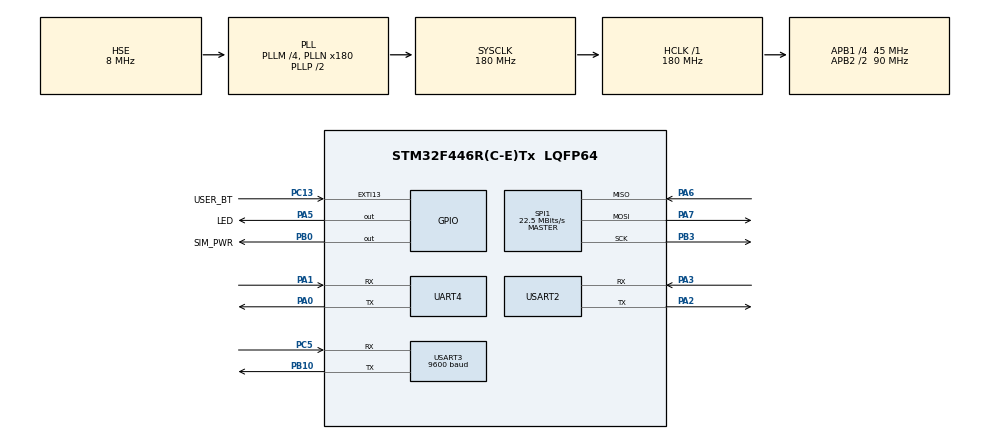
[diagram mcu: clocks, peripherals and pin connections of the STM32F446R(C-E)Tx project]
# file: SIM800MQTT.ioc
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Dma.Request0=UART4_RX
Dma.UART4_RX.0.Direction=DMA_PERIPH_TO_MEMORY
Dma.UART4_RX.0.FIFOMode=DMA_FIFOMODE_DISABLE
Dma.UART4_RX.0.Instance=DMA1_Stream2
Dma.UART4_RX.0.MemDataAlignment=DMA_MDATAALIGN_BYTE
Dma.UART4_RX.0.MemInc=DMA_MINC_ENABLE
Dma.UART4_RX.0.Mode=DMA_NORMAL
Dma.UART4_RX.0.PeriphDataAlignment=DMA_PDATAALIGN_BYTE
Dma.UART4_RX.0.PeriphInc=DMA_PINC_DISABLE
Dma.UART4_RX.0.Priority=DMA_PRIORITY_LOW
Mcu.Family=STM32F4
Mcu.Name=STM32F446R(C-E)Tx
Mcu.Package=LQFP64
NVIC.DMA1_Stream2_IRQn=true\:0\:0\:false\:false\:true\:false\:true\:true
NVIC.EXTI15_10_IRQn=true\:5\:0\:true\:false\:true\:true\:true\:true
NVIC.PriorityGroup=NVIC_PRIORITYGROUP_4
NVIC.RTC_Alarm_IRQn=true\:0\:0\:false\:false\:true\:true\:true\:true
NVIC.TIM6_DAC_IRQn=true\:15\:0\:false\:false\:true\:false\:true\:true
NVIC.TimeBase=TIM6_DAC_IRQn
NVIC.TimeBaseIP=TIM6
NVIC.UART4_IRQn=true\:6\:0\:true\:false\:true\:true\:true\:true
NVIC.USART3_IRQn=true\:6\:0\:true\:false\:true\:true\:true\:true
PA0-WKUP.Mode=Asynchronous
PA0-WKUP.Signal=UART4_TX
PA1.Mode=Asynchronous
PA1.Signal=UART4_RX
PA2.Mode=Asynchronous
PA2.Signal=USART2_TX
PA3.Mode=Asynchronous
PA3.Signal=USART2_RX
PA5.GPIO_Label=LED
PA5.Signal=GPIO_Output
PA6.Mode=Full_Duplex_Master
PA6.Signal=SPI1_MISO
PA7.Mode=Full_Duplex_Master
PA7.Signal=SPI1_MOSI
PB0.GPIO_Label=SIM_PWR
PB0.Signal=GPIO_Output
PB10.Mode=Asynchronous
PB10.Signal=USART3_TX
PB3.Mode=Full_Duplex_Master
PB3.Signal=SPI1_SCK
PC13.GPIO_Label=USER_BT
PC13.GPIO_PuPd=GPIO_PULLUP
PC13.Signal=GPXTI13
PC14-OSC32_IN.Mode=LSE-External-Oscillator
PC14-OSC32_IN.Signal=RCC_OSC32_IN
PC15-OSC32_OUT.Mode=LSE-External-Oscillator
PC15-OSC32_OUT.Signal=RCC_OSC32_OUT
PC5.Mode=Asynchronous
PC5.Signal=USART3_RX
PH0-OSC_IN.Mode=HSE-External-Oscillator
PH0-OSC_IN.Signal=RCC_OSC_IN
PH1-OSC_OUT.Mode=HSE-External-Oscillator
PH1-OSC_OUT.Signal=RCC_OSC_OUT
ProjectManager.HeapSize=0x200
ProjectManager.StackSize=0x400
ProjectManager.TargetToolchain=STM32CubeIDE
RCC.AHBFreq_Value=180000000
RCC.APB1CLKDivider=RCC_HCLK_DIV4
RCC.APB1Freq_Value=45000000
RCC.APB1TimFreq_Value=90000000
RCC.APB2CLKDivider=RCC_HCLK_DIV2
RCC.APB2Freq_Value=90000000
RCC.APB2TimFreq_Value=180000000
RCC.CortexFreq_Value=180000000
RCC.HCLKFreq_Value=180000000
RCC.HSE_VALUE=8000000
RCC.PLLM=4
RCC.PLLN=180
RCC.PLLSourceVirtual=RCC_PLLSOURCE_HSE
RCC.RCC_RTC_Clock_SourceVirtual=RCC_RTCCLKSOURCE_LSE
RCC.SYSCLKFreq_VALUE=180000000
RCC.SYSCLKSource=RCC_SYSCLKSOURCE_PLLCLK
RCC.USBFreq_Value=180000000
RCC.VCOOutputFreq_Value=360000000
RTC.Alarm=RTC_ALARM_A
RTC.Format=RTC_FORMAT_BIN
SPI1.BaudRatePrescaler=SPI_BAUDRATEPRESCALER_4
SPI1.CalculateBaudRate=22.5 MBits/s
SPI1.Direction=SPI_DIRECTION_2LINES
SPI1.Mode=SPI_MODE_MASTER
SPI1.VirtualType=VM_MASTER
UART4.VirtualMode=Asynchronous
USART2.VirtualMode=VM_ASYNC
USART3.BaudRate=9600
USART3.VirtualMode=VM_ASYNC
VP_RTC_VS_RTC_Activate.Mode=RTC_Enabled
VP_RTC_VS_RTC_Alarm_A_Intern.Mode=Alarm A
VP_RTC_VS_RTC_Calendar.Mode=RTC_Calendar
VP_SYS_VS_tim6.Mode=TIM6
board=custom

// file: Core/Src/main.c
/* USER CODE BEGIN Header */
/**
  ******************************************************************************
  * @file           : main.c
  * @brief          : Main program body
  ******************************************************************************
  * @attention
  *
  * Copyright (c) 2025 STMicroelectronics.
  * All rights reserved.
  *
  * This software is licensed under terms that can be found in the LICENSE file
  * in the root directory of this software component.
  * If no LICENSE file comes with this software, it is provided AS-IS.
  *
  ******************************************************************************
  */
/* USER CODE END Header */
#include "main.h"
#include "dma.h"
#include "rtc.h"
#include "spi.h"
#include "usart.h"
#include "gpio.h"

/* USER CODE BEGIN Includes */
#include <stdio.h>
#include <stdlib.h>
#include <string.h>
#include "freeRTOS.h"
#include "task.h"
#include "queue.h"
#include "semphr.h"
#include "MQTTSim800.h"

/* USER CODE END Includes */

/* USER CODE BEGIN PD */
#define KEEP_ALIVE_INTERVAL 60
/* USER CODE END PD */

/* USER CODE BEGIN PV */
TaskHandle_t mqttTaskHandle;
TaskHandle_t gpioTaskHandle;
TaskHandle_t uartTaskHandle;
TaskHandle_t rtcTaskHandle;

SemaphoreHandle_t xButtonSemaphore;

QueueHandle_t mqttQueue;
QueueHandle_t GSM_rxCallbackQueue;
QueueHandle_t ESP_uartQueue;

char timeData[15];
char dateData[15];

volatile uint8_t buttonState = 0;
SIM800_t SIM800;
uint32_t lastKeepAliveTime = 0;
extern uint8_t mqtt_receive;
extern uint8_t rx_data;

uint8_t uartRxBuffer[1];

/* USER CODE END PV */

void SystemClock_Config(void);
/* USER CODE BEGIN PFP */
void GSM_MQTT_Task(void *pvParameters);
void INT_GPIO_Task(void *pvParameters);
void ESP_UART_Task(void *pvParameters);
void RTC_Task(void *pvParameters);

uint32_t millis();
void set_time (uint8_t hr, uint8_t min, uint8_t sec);
void set_date (uint8_t year, uint8_t month, uint8_t date, uint8_t day);
void set_alarm (uint8_t hr, uint8_t min, uint8_t sec, uint8_t date);
void get_time_date(char *time, char *date);

/* USER CODE END PFP */

/* USER CODE BEGIN 0 */
void GSM_init(void)                                 //GSM Init
{
	SIM800.sim.apn = "internet";
	SIM800.sim.apn_user = "";
	SIM800.sim.apn_pass = "";
	SIM800.mqttServer.host = "";
	SIM800.mqttServer.port = 1883;
	SIM800.mqttClient.username = "";
	SIM800.mqttClient.pass = "";
	SIM800.mqttClient.clientID = "simTest";
	SIM800.mqttClient.keepAliveInterval = 60;
}

void FreeRTOS_Init(void)                            //FreeRTOS initialization function
{
    mqttQueue = xQueueCreate(5, sizeof(uint8_t));                 // Queue init
    ESP_uartQueue = xQueueCreate(10, sizeof(uartRxBuffer));

    xButtonSemaphore = xSemaphoreCreateBinary();          //binary semaphore init

    xTaskCreate(ESP_UART_Task, "ESP_UART_Task", 200, NULL, 3, &uartTaskHandle);
    xTaskCreate(RTC_Task, "RTC_Task", 200, NULL, 1, &rtcTaskHandle);
    xTaskCreate(GSM_MQTT_Task, "GSM_MQTT_Task", 512, NULL, 2, &mqttTaskHandle);
    xTaskCreate(INT_GPIO_Task, "INT_GPIO_Task", 256, NULL, 4, &gpioTaskHandle);
    vTaskStartScheduler();
}

void HAL_UART_RxCpltCallback(UART_HandleTypeDef * huart)          // UART interrupt call back
{
	if (huart->Instance == UART4)
	{
		BaseType_t xHigherPriorityTaskWoken = pdFALSE;
		xQueueSendFromISR(ESP_uartQueue, uartRxBuffer, &xHigherPriorityTaskWoken);
		memset(uartRxBuffer, 0, sizeof(uartRxBuffer));
		HAL_UART_Receive_IT(&huart4, uartRxBuffer, sizeof(uartRxBuffer));
		portYIELD_FROM_ISR(xHigherPriorityTaskWoken);
	}

    if (huart == UART_SIM800)
    {
    	BaseType_t xHigherPriorityTaskWoken = pdFALSE;
        Sim800_RxCallBack();
        portYIELD_FROM_ISR(xHigherPriorityTaskWoken);
    }
}

void ESP_UART_Task(void *pvParameters)                             //UART task handler
{
    while (1) {
        if (xQueueReceive(ESP_uartQueue, uartRxBuffer, portMAX_DELAY) == pdTRUE) {
            printf("UART Data Received: %s\n", uartRxBuffer);
            if(uartRxBuffer == 1)
            {
            	printf("LED Toggled\n\r");
            	HAL_GPIO_TogglePin(LED_GPIO_Port, LED_Pin);
            }
        }
    }
}

void INT_GPIO_Task(void *pvParameters)                             //GPIO Task Handler
{
    while (1)
    {
    	if(xSemaphoreTake(xButtonSemaphore, portMAX_DELAY) == pdTRUE)
    	{
    		HAL_GPIO_TogglePin(LED_GPIO_Port, LED_Pin);
    		buttonState ^= 1;
			printf("button state toggled: %d\n\r", buttonState);
			xQueueSend(mqttQueue, (void *)&buttonState, portMAX_DELAY);
    	}
    }
}

void GSM_MQTT_Task(void *pvParameters)                             //GSM & MQTT Task Handler
{
   uint8_t receivedState;
   char mqttPayload[32];
   while(1)
   {
	   if (SIM800.mqttServer.connect == 0)
	   {
		   MQTT_Init();
		   lastKeepAliveTime = millis();
	   }
	  if (SIM800.mqttServer.connect == 1)
	   {
		  MQTT_Sub("STM32/subscribe");
		  if(SIM800.mqttReceive.newEvent)
		  {
			  unsigned char *topic = SIM800.mqttReceive.topic;
			  unsigned char *payload = SIM800.mqttReceive.payload;
			  SIM800.mqttReceive.newEvent = 0;
			  printf("Topic: %s\n\r", topic);
			  printf("Payload: %s\n\r",payload);
			  if(strcmp((char *)payload, "LED") == 0)
				{
					buttonState ^= 1;
					char mqttPayload[32];
					HAL_GPIO_TogglePin(LED_GPIO_Port, LED_Pin);
					sprintf(mqttPayload, "{\"device1\":%d}", buttonState);
					MQTT_Pub("STM32/publish", mqttPayload);
					printf("MQTT Published: %s\n\r", mqttPayload);

				}
		  }

		  if(xQueueReceive(mqttQueue, &receivedState, pdMS_TO_TICKS(500)) == pdTRUE)
			{
			   sprintf(mqttPayload, "{\"device1\":%d}", receivedState);
			   MQTT_Pub("STM32/publish", mqttPayload);
			   printf("MQTT Published: %s\n\r", mqttPayload);
			   lastKeepAliveTime = millis();

			}
			if ((millis() - lastKeepAliveTime) >= (KEEP_ALIVE_INTERVAL * 500))
			{
			   uint8_t pingreq_packet[2] = {0xC0, 0x00};
			   HAL_UART_Transmit(UART_SIM800, pingreq_packet, 2, 100);
			   printf("Sending MQTT PINGREQ\n\r");
			   lastKeepAliveTime = millis();
			}
	   }
    vTaskDelay(100);
   }
}

void RTC_Task(void *pvParameters)                          // RTC Task Handler
{
	while(1)
	{
		get_time_date(timeData, dateData);
		printf("%s\n\r", timeData);
		printf("%s\n\r", dateData);
		vTaskDelay(1000);
	}
}

void HAL_GPIO_EXTI_Callback(uint16_t GPIO_Pin)                // External interrupt call back
{
	BaseType_t xHigherPriorityTaskWoken = pdFALSE;
    if (GPIO_Pin == USER_BT_Pin)
    {
        xSemaphoreGiveFromISR(xButtonSemaphore, xHigherPriorityTaskWoken);
        portYIELD_FROM_ISR(xHigherPriorityTaskWoken);
    }
}

#ifdef __GNUC__                                                //printf
#define UART_printf   int __io_putchar(int ch)
UART_printf
{
	HAL_UART_Transmit(&huart2, (uint8_t*)&ch, 1, HAL_MAX_DELAY);
	return ch;
}
#endif

uint32_t millis() {
    return HAL_GetTick();
}
/* USER CODE END 0 */

int main(void)
{

  /* MCU Configuration--------------------------------------------------------*/

  /* Reset of all peripherals, Initializes the Flash interface and the Systick. */
  HAL_Init();

  /* Configure the system clock */
  SystemClock_Config();

  /* Initialize all configured peripherals */
  MX_GPIO_Init();
  MX_DMA_Init();
  MX_USART2_UART_Init();
  MX_USART3_UART_Init();
  MX_SPI1_Init();
  MX_UART4_Init();
  MX_RTC_Init();
  /* USER CODE BEGIN 2 */
  if (HAL_RTCEx_BKUPRead(&hrtc, RTC_BKP_DR1) != 0x2345)
  {
	set_time(15, 20, 30);
	set_date(25, 02, 22, 7);
  }
  set_time(15, 20, 30);
  set_date(25, 02, 22, 7);
  HAL_UART_Receive_IT(&huart4, uartRxBuffer, sizeof(uartRxBuffer));
  HAL_UART_Receive_IT(UART_SIM800, &rx_data, 1);
  printf("system Init\n\r");
  GSM_init();
  FreeRTOS_Init();
//  uint8_t sub = 0;
//  uint8_t pub_uint8 = 1;
  /* USER CODE END 2 */

  /* Infinite loop */
  while (1)
  {

  }
}

void SystemClock_Config(void)
{
  RCC_OscInitTypeDef RCC_OscInitStruct = {0};
  RCC_ClkInitTypeDef RCC_ClkInitStruct = {0};

  /** Configure the main internal regulator output voltage
  */
  __HAL_RCC_PWR_CLK_ENABLE();
  __HAL_PWR_VOLTAGESCALING_CONFIG(PWR_REGULATOR_VOLTAGE_SCALE1);

  /** Initializes the RCC Oscillators according to the specified parameters
  * in the RCC_OscInitTypeDef structure.
  */
  RCC_OscInitStruct.OscillatorType = RCC_OSCILLATORTYPE_HSE|RCC_OSCILLATORTYPE_LSE;
  RCC_OscInitStruct.HSEState = RCC_HSE_ON;
  RCC_OscInitStruct.LSEState = RCC_LSE_ON;
  RCC_OscInitStruct.PLL.PLLState = RCC_PLL_ON;
  RCC_OscInitStruct.PLL.PLLSource = RCC_PLLSOURCE_HSE;
  RCC_OscInitStruct.PLL.PLLM = 4;
  RCC_OscInitStruct.PLL.PLLN = 180;
  RCC_OscInitStruct.PLL.PLLP = RCC_PLLP_DIV2;
  RCC_OscInitStruct.PLL.PLLQ = 2;
  RCC_OscInitStruct.PLL.PLLR = 2;
  if (HAL_RCC_OscConfig(&RCC_OscInitStruct) != HAL_OK)
  {
    Error_Handler();
  }

  /** Activate the Over-Drive mode
  */
  if (HAL_PWREx_EnableOverDrive() != HAL_OK)
  {
    Error_Handler();
  }

  /** Initializes the CPU, AHB and APB buses clocks
  */
  RCC_ClkInitStruct.ClockType = RCC_CLOCKTYPE_HCLK|RCC_CLOCKTYPE_SYSCLK
                              |RCC_CLOCKTYPE_PCLK1|RCC_CLOCKTYPE_PCLK2;
  RCC_ClkInitStruct.SYSCLKSource = RCC_SYSCLKSOURCE_PLLCLK;
  RCC_ClkInitStruct.AHBCLKDivider = RCC_SYSCLK_DIV1;
  RCC_ClkInitStruct.APB1CLKDivider = RCC_HCLK_DIV4;
  RCC_ClkInitStruct.APB2CLKDivider = RCC_HCLK_DIV2;

  if (HAL_RCC_ClockConfig(&RCC_ClkInitStruct, FLASH_LATENCY_5) != HAL_OK)
  {
    Error_Handler();
  }
}

/* USER CODE BEGIN 4 */
void set_time (uint8_t hr, uint8_t min, uint8_t sec)
{
	RTC_TimeTypeDef sTime = {0};

	sTime.Hours = hr;
	sTime.Minutes = min;
	sTime.Seconds = sec;
	sTime.DayLightSaving = RTC_DAYLIGHTSAVING_NONE;
	sTime.StoreOperation = RTC_STOREOPERATION_RESET;
	if (HAL_RTC_SetTime(&hrtc, &sTime, RTC_FORMAT_BIN) != HAL_OK)
	{
		Error_Handler();
	}
}

void set_date (uint8_t year, uint8_t month, uint8_t date, uint8_t day)  // monday = 1
{

	RTC_DateTypeDef sDate = {0};
	sDate.WeekDay = day;
	sDate.Month = month;
	sDate.Date = date;
	sDate.Year = year;
	if (HAL_RTC_SetDate(&hrtc, &sDate, RTC_FORMAT_BIN) != HAL_OK)
	{
		Error_Handler();
	}

	HAL_RTCEx_BKUPWrite(&hrtc, RTC_BKP_DR1, 0x2345);  // backup register
}

void set_alarm (uint8_t hr, uint8_t min, uint8_t sec, uint8_t date)
{
	RTC_AlarmTypeDef sAlarm = {0};
	sAlarm.AlarmTime.Hours = hr;
	sAlarm.AlarmTime.Minutes = min;
	sAlarm.AlarmTime.Seconds = sec;
	sAlarm.AlarmTime.SubSeconds = 0;
	sAlarm.AlarmTime.DayLightSaving = RTC_DAYLIGHTSAVING_NONE;
	sAlarm.AlarmTime.StoreOperation = RTC_STOREOPERATION_RESET;
	sAlarm.AlarmMask = RTC_ALARMMASK_NONE;
	sAlarm.AlarmSubSecondMask = RTC_ALARMSUBSECONDMASK_ALL;
	sAlarm.AlarmDateWeekDaySel = RTC_ALARMDATEWEEKDAYSEL_DATE;
	sAlarm.AlarmDateWeekDay = date;
	sAlarm.Alarm = RTC_ALARM_A;
	if (HAL_RTC_SetAlarm_IT(&hrtc, &sAlarm, RTC_FORMAT_BIN) != HAL_OK)
	{
		Error_Handler();
	}
}

void get_time_date(char *time, char *date)
{
  RTC_DateTypeDef gDate;
  RTC_TimeTypeDef gTime;
  HAL_RTC_GetTime(&hrtc, &gTime, RTC_FORMAT_BIN);
  HAL_RTC_GetDate(&hrtc, &gDate, RTC_FORMAT_BIN);
  sprintf((char*)time,"%02d:%02d:%02d",gTime.Hours, gTime.Minutes, gTime.Seconds);
  sprintf((char*)date,"%02d-%02d-%2d",gDate.Date, gDate.Month, 2000 + gDate.Year);
}

void HAL_RTC_AlarmAEventCallback(RTC_HandleTypeDef *hrtc)
{
	HAL_GPIO_WritePin(LED_GPIO_Port, LED_Pin, 1);  // turn the LED ON
}
/* USER CODE END 4 */

void HAL_TIM_PeriodElapsedCallback(TIM_HandleTypeDef *htim)
{
  if (htim->Instance == TIM6) {
    HAL_IncTick();
  }
}

void Error_Handler(void)
{
  __disable_irq();
  while (1)
  {
  }
}
